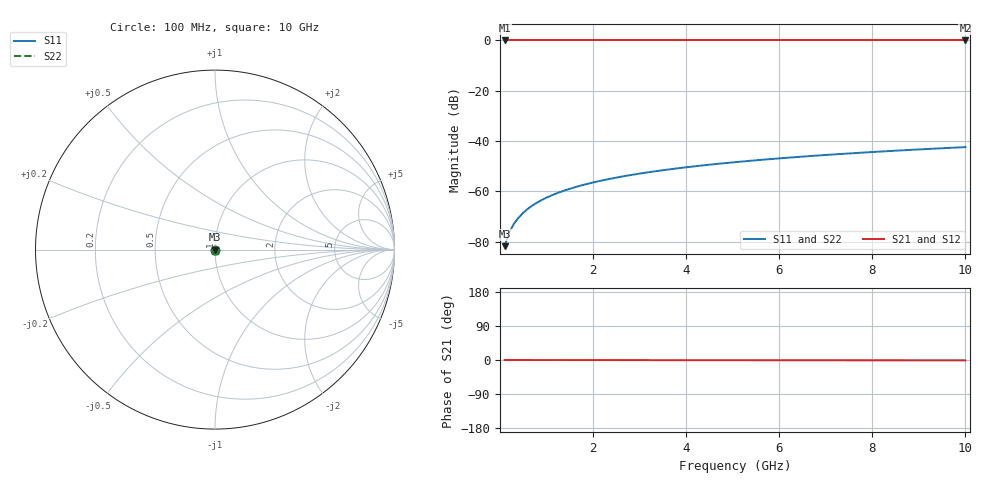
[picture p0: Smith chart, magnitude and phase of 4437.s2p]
# Hz S RI R 50.00
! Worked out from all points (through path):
!   100 points, 100 MHz to 10 GHz, reference 50 ohm
!   highest |S21| = 0.00 dB at 100 MHz (marker M1); lowest = 0.0 dB at 10 GHz (marker M2)
!   lowest |S11| = -81.7 dB at 100 MHz (marker M3), VSWR 1.00, Z = 50 - j0.00753 ohm
!   |S11| at or under -10 dB: start of sweep to end of sweep
!   |S22| runs from -81.7 to -42.4 dB; largest |S21 - S12| = 0
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1e8  3.23e-05 -7.53e-05  1 -0.000185  1 -0.000185  3.23e-05 -7.53e-05
2e8  3.23e-05 -0.000151  1 -0.00037  1 -0.00037  3.23e-05 -0.000151
3e8  3.23e-05 -0.000226  1 -0.000555  1 -0.000555  3.23e-05 -0.000226
4e8  3.22e-05 -0.000301  1 -0.000741  1 -0.000741  3.22e-05 -0.000301
5e8  3.21e-05 -0.000377  1 -0.000926  1 -0.000926  3.21e-05 -0.000377
6e8  3.19e-05 -0.000452  1 -0.00111  1 -0.00111  3.19e-05 -0.000452
7e8  3.17e-05 -0.000527  1 -0.0013  1 -0.0013  3.17e-05 -0.000527
9e8  3.12e-05 -0.000678  1 -0.00167  1 -0.00167  3.12e-05 -0.000678
1e9  3.08e-05 -0.000753  1 -0.00185  1 -0.00185  3.08e-05 -0.000753
1.2e9  3.01e-05 -0.000904  1 -0.00222  1 -0.00222  3.01e-05 -0.000904
1.5e9  2.88e-05 -0.00113  1 -0.00278  1 -0.00278  2.88e-05 -0.00113
1.8e9  2.72e-05 -0.00136  1 -0.00333  1 -0.00333  2.72e-05 -0.00136
2.1e9  2.54e-05 -0.00158  1 -0.00389  1 -0.00389  2.54e-05 -0.00158
2.5e9  2.25e-05 -0.00189  0.9999 -0.00463  0.9999 -0.00463  2.25e-05 -0.00189
2.9e9  1.92e-05 -0.00219  0.9999 -0.00538  0.9999 -0.00538  1.92e-05 -0.00219
3.4e9  1.44e-05 -0.00257  0.9999 -0.00631  0.9999 -0.00631  1.44e-05 -0.00257
4.2e9  5.16e-06 -0.00317  0.9999 -0.00779  0.9999 -0.00779  5.16e-06 -0.00317
5.1e9  -7.39e-06 -0.00386  0.9999 -0.00947  0.9999 -0.00947  -7.39e-06 -0.00386
5.9e9  -2.05e-05 -0.00447  0.9999 -0.011  0.9999 -0.011  -2.05e-05 -0.00447
6.7e9  -3.55e-05 -0.00508  0.9999 -0.0125  0.9999 -0.0125  -3.55e-05 -0.00508
8.4e9  -7.34e-05 -0.00638  0.9998 -0.0157  0.9998 -0.0157  -7.34e-05 -0.00638
1e10  -0.000117 -0.00761  0.9997 -0.0187  0.9997 -0.0187  -0.000117 -0.00761
